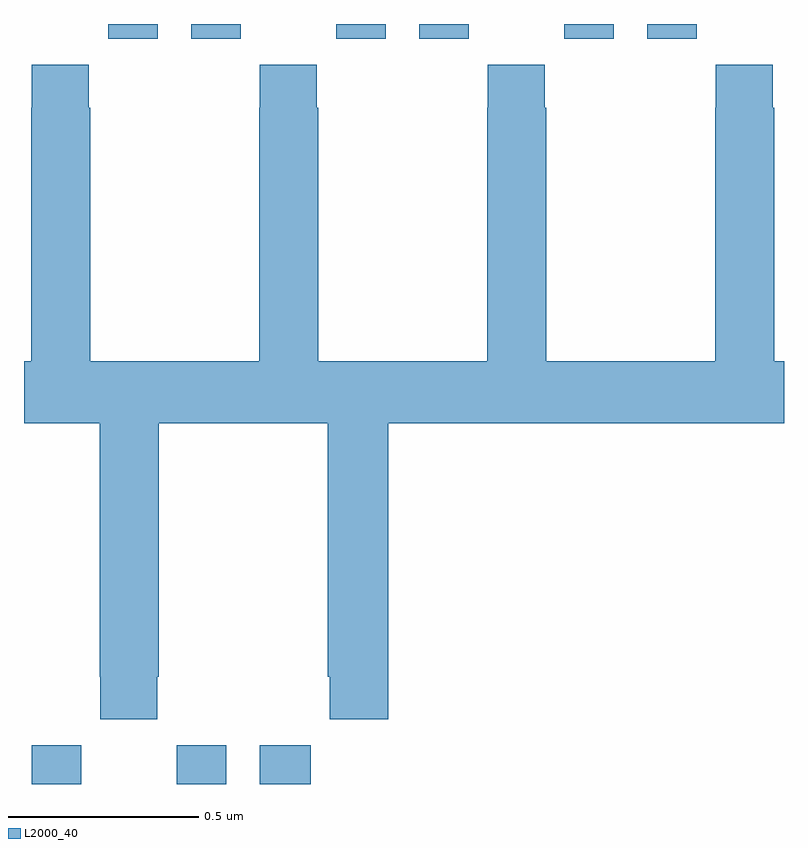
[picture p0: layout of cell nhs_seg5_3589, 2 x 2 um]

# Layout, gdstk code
import gdstk
lib = gdstk.Library(unit=1e-6, precision=1e-09)
def R(c, l, rs):  # rectangles x0, y0, x1, y1
    for r in rs: c.add(gdstk.rectangle(r[:2], r[2:], *l))
def P(c, l, *ps):  # polygons
    for p in ps: c.add(gdstk.Polygon(p, *l))
L2000_40 = (2000, 40)

nhs_seg5_3589 = lib.new_cell('nhs_seg5_3589')
R(nhs_seg5_3589, L2000_40, [(159.02,867.799,159.15,867.901), (159.402,867.799,159.532,867.901), (159.62,867.799,159.754,867.901), (159.222,869.76,159.352,869.799), (159.44,869.76,159.57,869.799), (159.822,869.76,159.952,869.799), (160.04,869.76,160.17,869.799), (160.422,869.76,160.552,869.799), (160.64,869.76,160.77,869.799)])
P(nhs_seg5_3589, L2000_40, [(159.351,868.081),(159.354,868.081),(159.354,868.748),(159.799,868.748),(159.799,868.081),(159.805,868.081),(159.805,867.969),(159.959,867.969),(159.959,868.748),(161,868.748),(161,868.912),(160.974,868.912),(160.974,869.579),(160.971,869.579),(160.971,869.692),(160.821,869.692),(160.821,869.579),(160.819,869.579),(160.819,868.912),(160.374,868.912),(160.374,869.579),(160.371,869.579),(160.371,869.692),(160.221,869.692),(160.221,869.579),(160.219,869.579),(160.219,868.912),(159.774,868.912),(159.774,869.579),(159.771,869.579),(159.771,869.692),(159.621,869.692),(159.621,869.579),(159.619,869.579),(159.619,868.912),(159.174,868.912),(159.174,869.579),(159.171,869.579),(159.171,869.692),(159.021,869.692),(159.021,869.579),(159.019,869.579),(159.019,868.912),(159,868.912),(159,868.748),(159.199,868.748),(159.199,868.081),(159.201,868.081),(159.201,867.969),(159.351,867.969)])

lib.write_gds('nhs_seg5_3589.gds')
